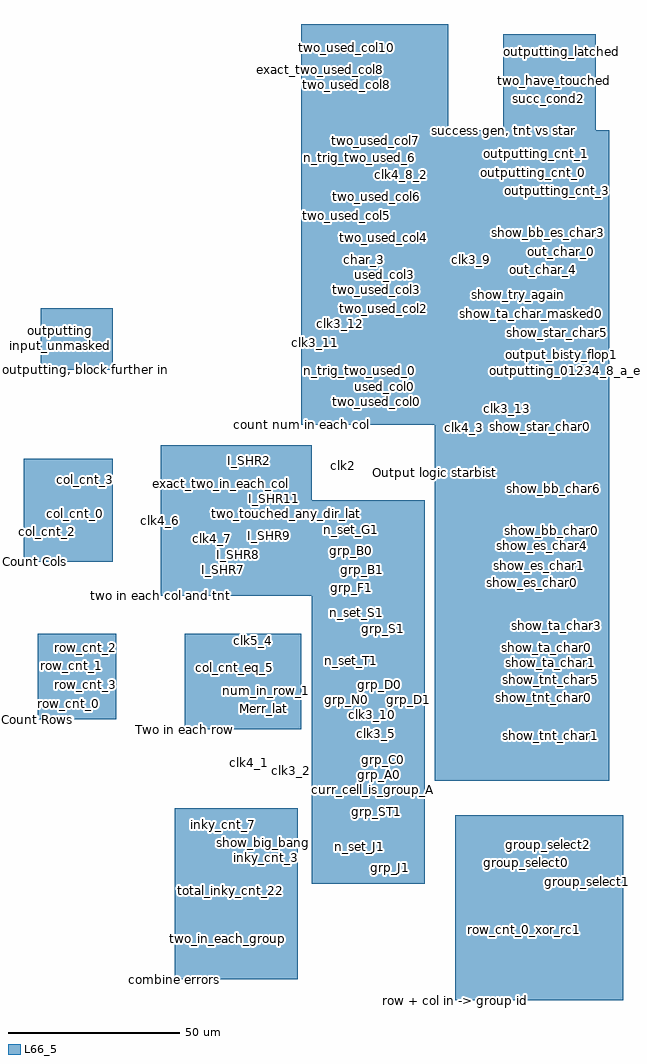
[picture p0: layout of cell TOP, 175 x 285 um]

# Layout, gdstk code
import gdstk
lib = gdstk.Library(unit=1e-6, precision=1e-09)
def R(c, l, rs):  # rectangles x0, y0, x1, y1
    for r in rs: c.add(gdstk.rectangle(r[:2], r[2:], *l))
L66_5 = (66, 5)

top = lib.new_cell('TOP')
R(top, L66_5, [(146,8,195,62), (64,14,100,64), (104,42,137,154), (140,72,191,162), (67,87,101,115), (24,90,47,115), (60,126,104,170), (20,136,46,166), (140,162,191,206), (101,176,144,293), (25,192,46,210), (140,206,191,262), (160,262,187,290)])
top.add(gdstk.Label('clk3_9', (150.65,224.23), layer=68, texttype=5))
top.add(gdstk.Label('clk3_14', (161.23,227.29), layer=68, texttype=5))
top.add(gdstk.Label('clk4_14', (157.09,224.23), layer=68, texttype=5))
top.add(gdstk.Label('outputting_latched', (176.865,285.09), layer=68, texttype=5))
top.add(gdstk.Label('outputting_cnt_0', (168.685,249.73), layer=68, texttype=5))
top.add(gdstk.Label('outputting_cnt_1', (169.605,255.17), layer=68, texttype=5))
top.add(gdstk.Label('outputting_cnt_2', (176.775,250.75), layer=68, texttype=5))
top.add(gdstk.Label('outputting_cnt_3', (175.855,244.29), layer=68, texttype=5))
top.add(gdstk.Label('outputting_cnt_lt_15', (176.865,248.71), layer=68, texttype=5))
top.add(gdstk.Label('out_char_0', (176.865,226.61), layer=68, texttype=5))
top.add(gdstk.Label('out_char_1', (170.885,224.91), layer=68, texttype=5))
top.add(gdstk.Label('out_char_3', (174.565,224.91), layer=68, texttype=5))
top.add(gdstk.Label('two_have_touched', (175.03,276.59), layer=68, texttype=5))
top.add(gdstk.Label('TNT_not_STAR', (176.865,274.21), layer=68, texttype=5))
top.add(gdstk.Label('succ_cond2', (173.19,271.15), layer=68, texttype=5))
top.add(gdstk.Label('succ_cond3', (172.725,278.29), layer=68, texttype=5))
top.add(gdstk.Label('succ_lat', (170.4,282.03), layer=68, texttype=5))
top.add(gdstk.Label('show_bb_es_char0', (176.895,230.35), layer=68, texttype=5))
top.add(gdstk.Label('show_bb_es_char1', (167.185,226.61), layer=68, texttype=5))
top.add(gdstk.Label('show_bb_es_char2', (164.885,224.91), layer=68, texttype=5))
top.add(gdstk.Label('show_bb_es_char3', (173.215,232.05), layer=68, texttype=5))
top.add(gdstk.Label('show_bb_es_char4', (170.865,226.61), layer=68, texttype=5))
top.add(gdstk.Label('show_bb_es_char5', (173.215,230.35), layer=68, texttype=5))
top.add(gdstk.Label('show_bb_es_char6', (181.035,224.91), layer=68, texttype=5))
top.add(gdstk.Label('output_chars_valid', (172.73,258.91), layer=68, texttype=5))
top.add(gdstk.Label('two_used_col4', (124.885,230.69), layer=68, texttype=5))
top.add(gdstk.Label('two_used_col5', (114.315,237.15), layer=68, texttype=5))
top.add(gdstk.Label('two_used_col6', (123.045,242.59), layer=68, texttype=5))
top.add(gdstk.Label('two_used_col7', (122.585,258.91), layer=68, texttype=5))
top.add(gdstk.Label('two_used_col8', (114.315,275.23), layer=68, texttype=5))
top.add(gdstk.Label('two_used_col9', (123.045,274.21), layer=68, texttype=5))
top.add(gdstk.Label('two_used_col10', (114.315,286.11), layer=68, texttype=5))
top.add(gdstk.Label('n_trig_two_used_5', (114.305,235.45), layer=68, texttype=5))
top.add(gdstk.Label('n_trig_two_used_6', (117.985,254.15), layer=68, texttype=5))
top.add(gdstk.Label('n_trig_two_used_7', (113.385,257.21), layer=68, texttype=5))
top.add(gdstk.Label('n_trig_two_used_9', (113.845,278.97), layer=68, texttype=5))
top.add(gdstk.Label('n_trig_two_used_10', (110.625,286.79), layer=68, texttype=5))
top.add(gdstk.Label('char_3', (119.365,224.23), layer=68, texttype=5))
top.add(gdstk.Label('char_5', (117.995,235.11), layer=68, texttype=5))
top.add(gdstk.Label('char_6', (121.675,254.49), layer=68, texttype=5))
top.add(gdstk.Label('char_7', (125.355,254.83), layer=68, texttype=5))
top.add(gdstk.Label('n_char_8', (114.775,271.49), layer=68, texttype=5))
top.add(gdstk.Label('char_9', (114.765,284.07), layer=68, texttype=5))
top.add(gdstk.Label('char_10', (127.655,284.07), layer=68, texttype=5))
top.add(gdstk.Label('clk4_8_2', (130.41,249.05), layer=68, texttype=5))
top.add(gdstk.Label('clk3_8', (123.97,249.05), layer=68, texttype=5))
top.add(gdstk.Label('clk3_8', (117.99,251.43), layer=68, texttype=5))
top.add(gdstk.Label('clk4_8_1', (117.07,251.43), layer=68, texttype=5))
top.add(gdstk.Label('exact_two_used_col5', (110.145,241.23), layer=68, texttype=5))
top.add(gdstk.Label('exact_two_used_col9', (123.945,275.57), layer=68, texttype=5))
top.add(gdstk.Label('exact_two_used_col10', (105.545,284.75), layer=68, texttype=5))
top.add(gdstk.Label('exact_two_used_col7', (110.605,259.25), layer=68, texttype=5))
top.add(gdstk.Label('exact_two_used_col6', (116.585,248.37), layer=68, texttype=5))
top.add(gdstk.Label('exact_two_used_col4', (111.09,237.15), layer=68, texttype=5))
top.add(gdstk.Label('exact_two_used_col8', (106.49,279.65), layer=68, texttype=5))
top.add(gdstk.Label('used_col5', (124.885,241.57), layer=68, texttype=5))
top.add(gdstk.Label('used_col6', (117.075,247.01), layer=68, texttype=5))
top.add(gdstk.Label('used_col7', (124.885,257.89), layer=68, texttype=5))
top.add(gdstk.Label('used_col9', (125.345,279.65), layer=68, texttype=5))
top.add(gdstk.Label('used_col10', (124.885,285.09), layer=68, texttype=5))
top.add(gdstk.Label('used_col0', (125.345,187.17), layer=68, texttype=5))
top.add(gdstk.Label('used_col3', (125.345,219.81), layer=68, texttype=5))
top.add(gdstk.Label('clk3_11', (105.11,200.09), layer=68, texttype=5))
top.add(gdstk.Label('clk3_12', (112.47,205.53), layer=68, texttype=5))
top.add(gdstk.Label('n_trig_two_used_0', (117.985,191.93), layer=68, texttype=5))
top.add(gdstk.Label('n_trig_two_used_3', (117.985,221.51), layer=68, texttype=5))
top.add(gdstk.Label('clk4_12', (109.71,207.91), layer=68, texttype=5))
top.add(gdstk.Label('exact_two_used_col0', (116.585,188.53), layer=68, texttype=5))
top.add(gdstk.Label('exact_two_used_col1', (107.41,208.93), layer=68, texttype=5))
top.add(gdstk.Label('two_used_col0', (123.045,182.75), layer=68, texttype=5))
top.add(gdstk.Label('two_used_col1', (114.315,204.51), layer=68, texttype=5))
top.add(gdstk.Label('char_0', (120.315,194.99), layer=68, texttype=5))
top.add(gdstk.Label('n_char_1', (114.775,200.77), layer=68, texttype=5))
top.add(gdstk.Label('two_used_col2', (124.885,209.95), layer=68, texttype=5))
top.add(gdstk.Label('two_used_col3', (123.045,215.39), layer=68, texttype=5))
top.add(gdstk.Label('exact_two_used_col2', (111.09,215.39), layer=68, texttype=5))
top.add(gdstk.Label('exact_two_used_col3', (113.825,219.47), layer=68, texttype=5))
top.add(gdstk.Label('clk2', (113.39,164.05), layer=68, texttype=5))
top.add(gdstk.Label('clk4_3', (148.81,175.27), layer=68, texttype=5))
top.add(gdstk.Label('show_try_again', (164.455,214.03), layer=68, texttype=5))
top.add(gdstk.Label('es_char_mask', (168.615,221.51), layer=68, texttype=5))
top.add(gdstk.Label('bb_char_mask', (169.485,218.11), layer=68, texttype=5))
top.add(gdstk.Label('show_bb_char6', (174.57,157.25), layer=68, texttype=5))
top.add(gdstk.Label('show_ta_char_masked0', (168.13,208.59), layer=68, texttype=5))
top.add(gdstk.Label('show_ta_char_masked1', (178.71,208.59), layer=68, texttype=5))
top.add(gdstk.Label('show_ta_char_masked2', (178.71,210.29), layer=68, texttype=5))
top.add(gdstk.Label('show_ta_char_masked3', (167.21,215.73), layer=68, texttype=5))
top.add(gdstk.Label('show_ta_char_masked4', (162.61,210.29), layer=68, texttype=5))
top.add(gdstk.Label('show_ta_char_masked5', (182.85,214.03), layer=68, texttype=5))
top.add(gdstk.Label('show_ta_char_masked6', (181.93,215.73), layer=68, texttype=5))
top.add(gdstk.Label('show_ta_char_masked7', (180.09,214.03), layer=68, texttype=5))
top.add(gdstk.Label('out_char_4', (171.805,221.17), layer=68, texttype=5))
top.add(gdstk.Label('out_char_5', (173.195,221.17), layer=68, texttype=5))
top.add(gdstk.Label('out_char_6', (178.715,219.47), layer=68, texttype=5))
top.add(gdstk.Label('out_char_7', (176.875,215.73), layer=68, texttype=5))
top.add(gdstk.Label('clk4_13', (155.71,178.33), layer=68, texttype=5))
top.add(gdstk.Label('clk3_13', (161.23,180.71), layer=68, texttype=5))
top.add(gdstk.Label('clk3_3', (146.97,178.33), layer=68, texttype=5))
top.add(gdstk.Label('show_bb_es_char7', (179.195,221.17), layer=68, texttype=5))
top.add(gdstk.Label('show_tnt_or_star_char0', (165.805,214.03), layer=68, texttype=5))
top.add(gdstk.Label('show_tnt_or_star_char1', (167.645,210.29), layer=68, texttype=5))
top.add(gdstk.Label('show_tnt_or_star_char2', (177.355,210.29), layer=68, texttype=5))
top.add(gdstk.Label('show_tnt_or_star_char3', (175.515,215.73), layer=68, texttype=5))
top.add(gdstk.Label('show_tnt_or_star_char4', (171.325,210.29), layer=68, texttype=5))
top.add(gdstk.Label('show_tnt_or_star_char5', (176.435,214.03), layer=68, texttype=5))
top.add(gdstk.Label('show_tnt_or_star_char6', (171.835,208.59), layer=68, texttype=5))
top.add(gdstk.Label('show_tnt_or_star_char7', (175.515,208.59), layer=68, texttype=5))
top.add(gdstk.Label('op_show_tnt', (169.485,217.09), layer=68, texttype=5))
top.add(gdstk.Label('op_show_star', (171.835,212.67), layer=68, texttype=5))
top.add(gdstk.Label('out_char_2', (173.195,219.47), layer=68, texttype=5))
top.add(gdstk.Label('show_star_char0', (170.93,175.61), layer=68, texttype=5))
top.add(gdstk.Label('show_star_char1', (164.49,183.43), layer=68, texttype=5))
top.add(gdstk.Label('show_star_char2', (178.67,177.99), layer=68, texttype=5))
top.add(gdstk.Label('show_star_char3', (173.19,172.55), layer=68, texttype=5))
top.add(gdstk.Label('outputting_6_or_b', (160.31,174.59), layer=68, texttype=5))
top.add(gdstk.Label('outputting_01234_8_a_e', (178.25,191.93), layer=68, texttype=5))
top.add(gdstk.Label('outputting_6_or_b', (160.31,174.59), layer=68, texttype=5))
top.add(gdstk.Label('show_star_char4', (170.89,183.43), layer=68, texttype=5))
top.add(gdstk.Label('show_star_char5', (175.95,202.81), layer=68, texttype=5))
top.add(gdstk.Label('show_star_char6', (170.93,194.31), layer=68, texttype=5))
top.add(gdstk.Label('show_star_char7', (172.77,172.55), layer=68, texttype=5))
top.add(gdstk.Label('output_bisty_flop0', (181.94,200.77), layer=68, texttype=5))
top.add(gdstk.Label('output_bisty_flop6', (177.785,179.01), layer=68, texttype=5))
top.add(gdstk.Label('output_bisty_flop4', (183.765,184.45), layer=68, texttype=5))
top.add(gdstk.Label('output_bisty_flop7', (168.58,180.03), layer=68, texttype=5))
top.add(gdstk.Label('output_bisty_flop5', (175.96,189.89), layer=68, texttype=5))
top.add(gdstk.Label('output_bisty_flop3', (174.575,195.33), layer=68, texttype=5))
top.add(gdstk.Label('output_bisty_flop1', (176.865,196.35), layer=68, texttype=5))
top.add(gdstk.Label('output_bisty_flop2', (176.88,190.91), layer=68, texttype=5))
top.add(gdstk.Label('clk4_11', (103.27,197.03), layer=68, texttype=5))
top.add(gdstk.Label('exact_two_in_each_col', (77.51,158.95), layer=68, texttype=5))
top.add(gdstk.Label('I_SHR0', (82.575,159.97), layer=68, texttype=5))
top.add(gdstk.Label('I_SHR2', (85.785,165.41), layer=68, texttype=5))
top.add(gdstk.Label('outputting', (30.595,203.49), layer=68, texttype=5))
top.add(gdstk.Label('next_outputting', (31.055,205.87), layer=68, texttype=5))
top.add(gdstk.Label('col_cnt_3', (37.945,159.97), layer=68, texttype=5))
top.add(gdstk.Label('next_char_cnt_3', (29.675,162.01), layer=68, texttype=5))
top.add(gdstk.Label('input_unmasked', (30.565,199.07), layer=68, texttype=5))
top.add(gdstk.Label('two_touch_left_right', (83.925,160.99), layer=68, texttype=5))
top.add(gdstk.Label('two_touched_any_dir_lat', (96.825,150.11), layer=68, texttype=5))
top.add(gdstk.Label('two_in_each_group', (79.35,26.01), layer=68, texttype=5))
top.add(gdstk.Label('total_inky_cnt_22', (80.265,39.95), layer=68, texttype=5))
top.add(gdstk.Label('clk5_4', (87.17,113.05), layer=68, texttype=5))
top.add(gdstk.Label('col_cnt_eq_5', (81.625,105.23), layer=68, texttype=5))
top.add(gdstk.Label('col_cnt_0', (35.185,150.11), layer=68, texttype=5))
top.add(gdstk.Label('show_big_bang', (89.93,53.89), layer=68, texttype=5))
top.add(gdstk.Label('show_empty_sky', (89.47,41.99), layer=68, texttype=5))
top.add(gdstk.Label('col_cnt_1', (39.785,149.09), layer=68, texttype=5))
top.add(gdstk.Label('col_cnt_2', (26.915,144.67), layer=68, texttype=5))
top.add(gdstk.Label('clk3_4', (77.51,107.61), layer=68, texttype=5))
top.add(gdstk.Label('row_cnt_0', (32.895,94.69), layer=68, texttype=5))
top.add(gdstk.Label('row_cnt_1', (33.815,105.57), layer=68, texttype=5))
top.add(gdstk.Label('inky_cnt_0', (81.655,54.91), layer=68, texttype=5))
top.add(gdstk.Label('inky_cnt_1', (81.655,38.59), layer=68, texttype=5))
top.add(gdstk.Label('inky_cnt_2', (91.765,44.03), layer=68, texttype=5))
top.add(gdstk.Label('inky_cnt_3', (90.845,49.47), layer=68, texttype=5))
top.add(gdstk.Label('inky_cnt_4', (86.705,37.57), layer=68, texttype=5))
top.add(gdstk.Label('inky_cnt_5', (77.515,43.01), layer=68, texttype=5))
top.add(gdstk.Label('inky_cnt_6', (84.865,48.45), layer=68, texttype=5))
top.add(gdstk.Label('inky_cnt_7', (78.435,59.33), layer=68, texttype=5))
top.add(gdstk.Label('Merr_lat', (89.925,92.99), layer=68, texttype=5))
top.add(gdstk.Label('n_input_unmasked', (76.59,104.55), layer=68, texttype=5))
top.add(gdstk.Label('num_in_row_0', (88.085,109.31), layer=68, texttype=5))
top.add(gdstk.Label('num_in_row_1', (90.845,98.43), layer=68, texttype=5))
top.add(gdstk.Label('num_in_all_rows_2', (79.81,93.67), layer=68, texttype=5))
top.add(gdstk.Label('row_cnt_2', (37.945,111.01), layer=68, texttype=5))
top.add(gdstk.Label('row_cnt_3', (37.945,100.13), layer=68, texttype=5))
top.add(gdstk.Label('next_char_cnt_0', (27.375,155.89), layer=68, texttype=5))
top.add(gdstk.Label('next_char_cnt_1', (34.71,153.85), layer=68, texttype=5))
top.add(gdstk.Label('clk4_4_1', (89.47,109.99), layer=68, texttype=5))
top.add(gdstk.Label('next_row_cnt_1', (39.795,102.51), layer=68, texttype=5))
top.add(gdstk.Label('next_row_cnt_2', (32.89,104.89), layer=68, texttype=5))
top.add(gdstk.Label('n_first_col', (81.195,106.93), layer=68, texttype=5))
top.add(gdstk.Label('n_first_col_2', (86.245,101.15), layer=68, texttype=5))
top.add(gdstk.Label('last_row', (31.515,94.35), layer=68, texttype=5))
top.add(gdstk.Label('Nlast_row', (33.835,102.17), layer=68, texttype=5))
top.add(gdstk.Label('clk4_4_2', (72.91,107.61), layer=68, texttype=5))
top.add(gdstk.Label('last_in_row', (24.615,153.51), layer=68, texttype=5))
top.add(gdstk.Label('clk4_6', (60.03,148.07), layer=68, texttype=5))
top.add(gdstk.Label('clk4_7', (75.21,142.63), layer=68, texttype=5))
top.add(gdstk.Label('clk3_6', (60.95,148.07), layer=68, texttype=5))
top.add(gdstk.Label('clk3_7', (77.05,151.13), layer=68, texttype=5))
top.add(gdstk.Label('clk3_2', (98.21,74.97), layer=68, texttype=5))
top.add(gdstk.Label('I_SHR1', (86.705,155.55), layer=68, texttype=5))
top.add(gdstk.Label('clk3_1', (86.71,77.35), layer=68, texttype=5))
top.add(gdstk.Label('I_SHR3', (78.435,150.11), layer=68, texttype=5))
top.add(gdstk.Label('I_SHR4', (83.945,144.67), layer=68, texttype=5))
top.add(gdstk.Label('I_SHR5', (77.515,139.23), layer=68, texttype=5))
top.add(gdstk.Label('I_SHR6', (76.135,149.09), layer=68, texttype=5))
top.add(gdstk.Label('I_SHR7', (78.435,133.79), layer=68, texttype=5))
top.add(gdstk.Label('I_SHR8', (82.575,138.21), layer=68, texttype=5))
top.add(gdstk.Label('I_SHR9', (91.765,143.65), layer=68, texttype=5))
top.add(gdstk.Label('I_SHR10', (94.065,149.09), layer=68, texttype=5))
top.add(gdstk.Label('I_SHR11', (93.145,154.53), layer=68, texttype=5))
top.add(gdstk.Label('clk4_1', (85.79,77.35), layer=68, texttype=5))
top.add(gdstk.Label('clk4_2', (100.05,71.91), layer=68, texttype=5))
top.add(gdstk.Label('two_never_touched', (85.33,146.03), layer=68, texttype=5))
top.add(gdstk.Label('show_es_char0', (168.59,130.05), layer=68, texttype=5))
top.add(gdstk.Label('show_es_char1', (170.435,134.81), layer=68, texttype=5))
top.add(gdstk.Label('show_es_char2', (175.005,128.69), layer=68, texttype=5))
top.add(gdstk.Label('show_es_char3', (171.355,132.43), layer=68, texttype=5))
top.add(gdstk.Label('show_es_char4', (171.345,140.59), layer=68, texttype=5))
top.add(gdstk.Label('show_es_char5', (169.965,134.81), layer=68, texttype=5))
top.add(gdstk.Label('show_es_char6', (174.575,143.65), layer=68, texttype=5))
top.add(gdstk.Label('show_bb_char0', (174.105,145.01), layer=68, texttype=5))
top.add(gdstk.Label('show_bb_char1', (168.585,149.09), layer=68, texttype=5))
top.add(gdstk.Label('show_bb_char2', (171.345,147.73), layer=68, texttype=5))
top.add(gdstk.Label('show_bb_char3', (175.03,153.85), layer=68, texttype=5))
top.add(gdstk.Label('show_bb_char5', (175.03,148.07), layer=68, texttype=5))
top.add(gdstk.Label('n_set_S1', (117.065,121.21), layer=68, texttype=5))
top.add(gdstk.Label('show_tnt_char0', (171.81,96.39), layer=68, texttype=5))
top.add(gdstk.Label('show_tnt_char1', (173.655,85.17), layer=68, texttype=5))
top.add(gdstk.Label('show_tnt_char2', (170.43,100.13), layer=68, texttype=5))
top.add(gdstk.Label('show_tnt_char3', (173.69,94.01), layer=68, texttype=5))
top.add(gdstk.Label('show_tnt_char4', (173.655,88.57), layer=68, texttype=5))
top.add(gdstk.Label('show_tnt_char5', (173.655,101.49), layer=68, texttype=5))
top.add(gdstk.Label('show_tnt_char6', (171.795,100.13), layer=68, texttype=5))
top.add(gdstk.Label('show_ta_char0', (172.715,111.01), layer=68, texttype=5))
top.add(gdstk.Label('show_ta_char1', (173.645,106.59), layer=68, texttype=5))
top.add(gdstk.Label('show_ta_char2', (171.805,110.67), layer=68, texttype=5))
top.add(gdstk.Label('show_ta_char3', (175.495,117.47), layer=68, texttype=5))
top.add(gdstk.Label('show_ta_char4', (171.79,119.17), layer=68, texttype=5))
top.add(gdstk.Label('show_ta_char5', (172.265,115.09), layer=68, texttype=5))
top.add(gdstk.Label('show_ta_char6', (180.09,116.11), layer=68, texttype=5))
top.add(gdstk.Label('n_set_G1', (115.685,145.35), layer=68, texttype=5))
top.add(gdstk.Label('n_set_J1', (117.985,52.87), layer=68, texttype=5))
top.add(gdstk.Label('n_set_T1', (115.685,107.27), layer=68, texttype=5))
top.add(gdstk.Label('clk3_5', (123.05,85.85), layer=68, texttype=5))
top.add(gdstk.Label('row_cnt_0_xor_rc1', (166.29,28.73), layer=68, texttype=5))
top.add(gdstk.Label('grp_A1', (123.965,83.81), layer=68, texttype=5))
top.add(gdstk.Label('grp_A0', (123.965,73.95), layer=68, texttype=5))
top.add(gdstk.Label('grp_B0', (115.695,139.23), layer=68, texttype=5))
top.add(gdstk.Label('grp_B1', (118.915,133.79), layer=68, texttype=5))
top.add(gdstk.Label('grp_J0', (123.965,51.17), layer=68, texttype=5))
top.add(gdstk.Label('grp_J1', (127.185,46.75), layer=68, texttype=5))
top.add(gdstk.Label('grp_S0', (123.045,122.91), layer=68, texttype=5))
top.add(gdstk.Label('grp_S1', (124.885,116.45), layer=68, texttype=5))
top.add(gdstk.Label('grp_G0', (123.965,149.09), layer=68, texttype=5))
top.add(gdstk.Label('grp_G1', (118.915,144.67), layer=68, texttype=5))
top.add(gdstk.Label('grp_D0', (123.965,100.13), layer=68, texttype=5))
top.add(gdstk.Label('grp_D1', (132.245,95.71), layer=68, texttype=5))
top.add(gdstk.Label('grp_T0', (115.695,111.01), layer=68, texttype=5))
top.add(gdstk.Label('grp_T1', (118.915,106.59), layer=68, texttype=5))
top.add(gdstk.Label('grp_F0', (114.775,138.21), layer=68, texttype=5))
top.add(gdstk.Label('grp_F1', (115.695,128.35), layer=68, texttype=5))
top.add(gdstk.Label('grp_N0', (114.315,95.71), layer=68, texttype=5))
top.add(gdstk.Label('grp_N1', (124.885,94.69), layer=68, texttype=5))
top.add(gdstk.Label('grp_C0', (124.885,78.37), layer=68, texttype=5))
top.add(gdstk.Label('grp_C1', (114.315,79.39), layer=68, texttype=5))
top.add(gdstk.Label('grp_ST0', (115.695,72.93), layer=68, texttype=5))
top.add(gdstk.Label('grp_ST1', (123.045,63.07), layer=68, texttype=5))
top.add(gdstk.Label('two_in_grp_G', (116.585,150.45), layer=68, texttype=5))
top.add(gdstk.Label('two_in_grp_B', (110.605,139.57), layer=68, texttype=5))
top.add(gdstk.Label('two_in_grp_N', (109.71,100.13), layer=68, texttype=5))
top.add(gdstk.Label('two_in_grp_C', (112.93,83.81), layer=68, texttype=5))
top.add(gdstk.Label('two_in_grp_D', (121.185,101.49), layer=68, texttype=5))
top.add(gdstk.Label('two_in_grp_T', (116.585,112.37), layer=68, texttype=5))
top.add(gdstk.Label('two_in_grp_S', (120.265,121.55), layer=68, texttype=5))
top.add(gdstk.Label('two_in_grp_F', (111.09,128.35), layer=68, texttype=5))
top.add(gdstk.Label('two_in_grp_A', (108.765,78.03), layer=68, texttype=5))
top.add(gdstk.Label('two_in_grp_ST', (111.09,63.07), layer=68, texttype=5))
top.add(gdstk.Label('two_in_grp_J', (121.185,52.53), layer=68, texttype=5))
top.add(gdstk.Label('clk4_5', (126.27,85.85), layer=68, texttype=5))
top.add(gdstk.Label('clk3_10', (121.67,91.29), layer=68, texttype=5))
top.add(gdstk.Label('lo', (166.655,85.51), layer=68, texttype=5))
top.add(gdstk.Label('hi', (166.02,85.83), layer=68, texttype=5))
top.add(gdstk.Label('clk4_10', (128.57,91.29), layer=68, texttype=5))
top.add(gdstk.Label('n_set_A1', (113.385,77.69), layer=68, texttype=5))
top.add(gdstk.Label('n_set_B1', (116.155,134.47), layer=68, texttype=5))
top.add(gdstk.Label('n_set_D1', (117.535,90.95), layer=68, texttype=5))
top.add(gdstk.Label('group_select0', (166.745,48.11), layer=68, texttype=5))
top.add(gdstk.Label('group_select1', (184.695,42.67), layer=68, texttype=5))
top.add(gdstk.Label('group_select2', (173.185,53.55), layer=68, texttype=5))
top.add(gdstk.Label('group_select3', (171.345,49.81), layer=68, texttype=5))
top.add(gdstk.Label('curr_cell_is_group_J', (116.125,58.99), layer=68, texttype=5))
top.add(gdstk.Label('curr_cell_is_group_S', (118.905,125.97), layer=68, texttype=5))
top.add(gdstk.Label('curr_cell_is_group_A', (121.665,69.53), layer=68, texttype=5))
top.add(gdstk.Label('curr_cell_is_group_B', (117.075,131.41), layer=68, texttype=5))
top.add(gdstk.Label('curr_cell_is_group_D', (117.075,87.89), layer=68, texttype=5))
top.add(gdstk.Label('curr_cell_is_group_G', (117.075,142.29), layer=68, texttype=5))
top.add(gdstk.Label('curr_cell_is_group_T', (117.075,102.51), layer=68, texttype=5))
top.add(gdstk.Label('curr_cell_isn_group_F', (123.045,141.95), layer=68, texttype=5))
top.add(gdstk.Label('curr_cell_isn_group_N', (117.525,86.53), layer=68, texttype=5))
top.add(gdstk.Label('curr_cell_isn_group_C', (112.475,71.23), layer=68, texttype=5))
top.add(gdstk.Label('curr_cell_isn_group_ST', (120.745,60.35), layer=68, texttype=5))
top.add(gdstk.Label('cols_6_to_10', (176.87,41.99), layer=68, texttype=5))
top.add(gdstk.Label('outputting, block further inputs', (25,192), layer=67, texttype=5))
top.add(gdstk.Label('Count Cols', (20,136), layer=67, texttype=5))
top.add(gdstk.Label('Count Rows', (24,90), layer=67, texttype=5))
top.add(gdstk.Label('count num in each col', (101,176), layer=67, texttype=5))
top.add(gdstk.Label('two in each col and tnt', (60,126), layer=67, texttype=5))
top.add(gdstk.Label('Two in each row', (67,87), layer=67, texttype=5))
top.add(gdstk.Label('combine errors', (64,14), layer=67, texttype=5))
top.add(gdstk.Label('success gen, tnt vs star', (160,262), layer=67, texttype=5))
top.add(gdstk.Label('two in each group', (104,42), layer=67, texttype=5))
top.add(gdstk.Label('Output logic non-star messages', (140,72), layer=67, texttype=5))
top.add(gdstk.Label('Output logic starbist', (140,162), layer=67, texttype=5))
top.add(gdstk.Label('Output mux messages', (140,206), layer=67, texttype=5))
top.add(gdstk.Label('row + col in -> group id', (146,8), layer=67, texttype=5))

lib.write_gds('TOP.gds')
